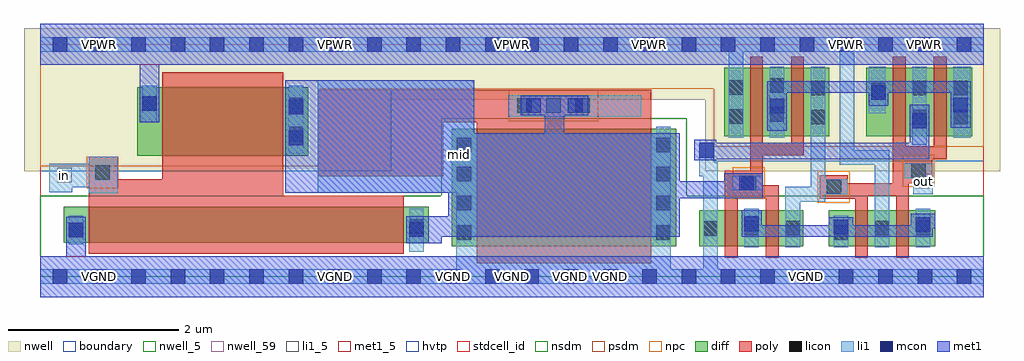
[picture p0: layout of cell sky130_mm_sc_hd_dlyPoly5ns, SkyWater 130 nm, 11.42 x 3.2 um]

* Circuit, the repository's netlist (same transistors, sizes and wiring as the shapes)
* NGSPICE file created from sky130_mm_sc_hd_dlyPoly5ns.ext - technology: sky130A

.subckt sky130_mm_sc_hd_dlyPoly5ns VPWR in out VGND VPB VNB
X0 a_1691_329# out VGND VPB sky130_fd_pr__pfet_01v8_hvt ad=7.52e+11p pd=6.68e+06u as=2.64e+11p ps=2.26e+06u w=800000u l=150000u
X1 a_1691_329# mid VPWR VPB sky130_fd_pr__pfet_01v8_hvt ad=0p pd=0u as=4.72e+11p ps=4.38e+06u w=800000u l=150000u
X2 out mid a_1691_329# VPB sky130_fd_pr__pfet_01v8_hvt ad=2.4e+11p pd=2.2e+06u as=0p ps=0u w=800000u l=150000u
X3 VGND out a_1691_329# VPB sky130_fd_pr__pfet_01v8_hvt ad=0p pd=0u as=0p ps=0u w=800000u l=150000u
X4 VGND mid VGND VNB sky130_fd_pr__nfet_01v8 ad=1.0453e+12p pd=9.52e+06u as=0p ps=0u w=1.375e+06u l=2.045e+06u
X5 a_1632_71# mid VGND VNB sky130_fd_pr__nfet_01v8 ad=3.99e+11p pd=4.42e+06u as=0p ps=0u w=420000u l=150000u
X6 VPWR out a_1632_71# VNB sky130_fd_pr__nfet_01v8 ad=1.386e+11p pd=1.5e+06u as=0p ps=0u w=420000u l=150000u
X7 a_1632_71# out VPWR VNB sky130_fd_pr__nfet_01v8 ad=0p pd=0u as=0p ps=0u w=420000u l=150000u
X8 out mid a_1632_71# VNB sky130_fd_pr__nfet_01v8 ad=1.218e+11p pd=1.42e+06u as=0p ps=0u w=420000u l=150000u
X9 mid in VPWR VPB sky130_fd_pr__pfet_01v8_hvt ad=2.32e+11p pd=2.18e+06u as=0p ps=0u w=800000u l=1.42e+06u
X10 mid in VGND VNB sky130_fd_pr__nfet_01v8 ad=1.218e+11p pd=1.42e+06u as=0p ps=0u w=420000u l=3.69e+06u
.ends

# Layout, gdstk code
import gdstk
lib = gdstk.Library(unit=1e-6, precision=1e-09)
def R(c, l, rs):  # rectangles x0, y0, x1, y1
    for r in rs: c.add(gdstk.rectangle(r[:2], r[2:], *l))
def A(c, l, x, y, w, h, nx, ny, dx, dy):  # array of equal rectangles
    R(c, l, [(x+i*dx, y+j*dy, x+i*dx+w, y+j*dy+h) for i in range(nx) for j in range(ny)])
nwell_5 = (64, 5)
nwell = (64, 20)
nwell_59 = (64, 59)
diff = (65, 20)
poly = (66, 20)
licon = (66, 44)
li1_5 = (67, 5)
li1 = (67, 20)
mcon = (67, 44)
met1_5 = (68, 5)
met1 = (68, 20)
hvtp = (78, 44)
stdcell_id = (81, 4)
nsdm = (93, 44)
psdm = (94, 20)
npc = (95, 20)
boundary = (235, 4)

sky130_mm_sc_hd_dlypoly5 = lib.new_cell('sky130_mm_sc_hd_dlyPoly5ns')
R(sky130_mm_sc_hd_dlypoly5, nwell_5, [(0.605,2.635,0.775,2.805), (3.365,2.635,3.535,2.805), (7.045,2.635,7.215,2.805), (9.345,2.635,9.515,2.805), (10.265,2.635,10.435,2.805)])
R(sky130_mm_sc_hd_dlypoly5, nwell, [(-0.19,1.235,4.11,2.07), (7.78,1.235,11.23,2.07), (-0.19,2.07,11.23,2.91)])
A(sky130_mm_sc_hd_dlypoly5, nwell_59, 3.365, -0.085, 0.17, 0.17, 3, 1, 1.38, 0)
R(sky130_mm_sc_hd_dlypoly5, nwell_59, [(0.605,-0.085,0.775,0.085), (6.585,-0.085,6.755,0.085), (8.885,-0.085,9.055,0.085)])
R(sky130_mm_sc_hd_dlypoly5, diff, [(4.815,0.355,7.44,1.73), (7.71,0.355,8.93,0.775), (9.225,0.355,10.475,0.775), (0.275,0.4,4.545,0.82), (1.135,1.415,3.135,2.215), (8.005,1.645,9.235,2.445), (9.665,1.645,10.905,2.445)])
R(sky130_mm_sc_hd_dlypoly5, poly, [(5.105,0.16,7.15,1.805), (8.01,0.22,8.16,0.92), (8.49,0.22,8.64,0.92), (9.535,0.22,9.685,0.91), (10.015,0.22,10.165,0.945), (0.565,0.27,4.255,0.95), (9.12,0.91,9.685,0.945), (8.01,0.92,8.64,1.07), (9.12,0.945,10.165,1.095), (0.565,0.95,2.845,1.14), (8.01,1.07,8.455,1.24), (9.12,1.095,9.45,1.19), (9.975,1.095,10.44,1.375), (0.565,1.14,0.905,1.405), (1.425,1.14,2.845,2.395), (3.245,1.175,4.715,1.805), (8.305,1.24,8.455,1.42), (9.975,1.375,10.605,1.525), (8.305,1.42,8.935,1.57), (9.975,1.525,10.125,2.575), (10.455,1.525,10.605,2.575), (8.305,1.57,8.455,2.575), (8.785,1.57,8.935,2.575), (3.245,1.805,7.15,2.14), (3.25,2.14,7.15,2.19)])
A(sky130_mm_sc_hd_dlypoly5, licon, 4.875, 0.435, 0.17, 0.17, 1, 4, 0, 0.34)
A(sky130_mm_sc_hd_dlypoly5, licon, 7.21, 0.435, 0.17, 0.17, 1, 4, 0, 0.34)
A(sky130_mm_sc_hd_dlypoly5, licon, 5.58, 1.92, 0.17, 0.17, 3, 1, 0.34, 0)
R(sky130_mm_sc_hd_dlypoly5, licon, [(9.285,0.435,9.455,0.605), (0.335,0.46,0.505,0.63), (7.76,0.48,7.93,0.65), (8.24,0.485,8.41,0.655), (8.72,0.485,8.89,0.655), (9.765,0.485,9.935,0.655), (10.245,0.485,10.415,0.655), (4.315,0.505,4.485,0.675), (9.2,0.965,9.37,1.135), (8.205,1.01,8.375,1.18), (0.645,1.135,0.815,1.305), (10.19,1.155,10.36,1.325), (2.905,1.585,3.075,1.755), (9.015,1.785,9.185,1.955), (10.205,1.785,10.375,1.955), (10.685,1.785,10.855,1.955), (8.055,1.79,8.225,1.96), (8.535,1.815,8.705,1.985), (2.905,1.925,3.075,2.095), (1.195,1.94,1.365,2.11), (9.725,2.1,9.895,2.27), (9.015,2.125,9.185,2.295), (10.205,2.125,10.375,2.295), (10.685,2.125,10.855,2.295), (8.055,2.13,8.225,2.3), (8.535,2.155,8.705,2.325)])
R(sky130_mm_sc_hd_dlypoly5, li1_5, [(10.245,1.035,10.415,1.205), (0.2,1.105,0.37,1.275)])
R(sky130_mm_sc_hd_dlypoly5, li1, [(0,-0.085,11.04,0.085), (4.865,0.085,7.38,0.98), (7.76,0.085,7.93,1.175), (4.315,0.29,4.485,0.8), (8.24,0.345,8.41,0.795), (8.72,0.345,8.89,0.88), (9.285,0.345,9.455,0.715), (9.765,0.345,9.935,1.31), (10.245,0.345,10.415,0.795), (0.335,0.38,0.505,0.715), (8.72,0.88,9.185,0.965), (8.72,0.965,9.45,1.05), (10.215,0.965,10.445,1.155), (0.565,0.975,0.905,1.045), (3.25,0.98,7.38,1.68), (0.105,0.99,0.375,1.045), (8.1,1.01,8.455,1.18), (0.105,1.045,0.905,1.32), (9.015,1.05,9.45,1.14), (9.015,1.14,9.185,2.455), (10.11,1.155,10.445,1.325), (7.71,1.175,7.93,1.34), (9.355,1.31,9.935,1.48), (0.565,1.32,0.905,1.405), (7.71,1.34,7.88,1.565), (2.905,1.445,3.075,2.235), (9.355,1.48,9.525,2.635), (10.205,1.545,10.375,2.455), (8.055,1.625,8.225,2.635), (8.535,1.625,8.705,2.455), (10.685,1.625,10.885,2.455), (3.25,1.68,5.08,2.3), (7.21,1.68,7.38,1.755), (1.19,1.805,1.365,2), (5.475,1.87,7.035,2.125), (9.695,1.915,9.895,2.455), (1.195,2,1.365,2.235), (0,2.635,11.04,2.805)])
A(sky130_mm_sc_hd_dlypoly5, mcon, 0.145, -0.085, 0.17, 0.17, 24, 2, 0.46, 2.72)
R(sky130_mm_sc_hd_dlypoly5, mcon, [(0.335,0.46,0.505,0.63), (4.315,0.465,4.485,0.635), (9.285,0.495,9.455,0.665), (10.245,0.525,10.415,0.695), (8.24,0.535,8.41,0.705), (8.18,1.01,8.35,1.18), (7.71,1.395,7.88,1.565), (2.905,1.54,3.075,1.71), (10.205,1.74,10.375,1.91), (2.905,1.9,3.075,2.07), (8.535,1.91,8.705,2.08), (5.685,1.92,5.855,2.09), (6.175,1.92,6.345,2.09), (10.685,1.925,10.855,2.095), (1.195,1.94,1.365,2.11), (9.725,2.07,9.895,2.24)])
A(sky130_mm_sc_hd_dlypoly5, met1_5, 3.365, -0.085, 0.17, 0.17, 3, 1, 1.38, 0)
R(sky130_mm_sc_hd_dlypoly5, met1_5, [(0,-0.24,11.04,0.24), (0.605,-0.085,0.775,0.085), (6.585,-0.085,6.755,0.085), (8.885,-0.085,9.055,0.085), (0,2.48,11.04,2.96), (0.605,2.635,0.775,2.805), (3.365,2.635,3.535,2.805), (7.045,2.635,7.215,2.805), (9.345,2.635,9.515,2.805), (10.265,2.635,10.435,2.805)])
R(sky130_mm_sc_hd_dlypoly5, met1, [(0,-0.24,11.04,0.24), (0.305,0.24,0.535,0.7), (4.28,0.39,4.7,0.465), (4.28,0.465,7.48,0.71), (8.21,0.465,10.445,0.565), (8.21,0.565,10.475,0.605), (8.21,0.605,8.44,0.775), (9.225,0.605,9.515,0.695), (10.185,0.605,10.475,0.735), (4.775,0.71,7.48,0.92), (4.775,0.92,8.455,0.98), (2.865,0.98,8.455,1.115), (2.865,1.115,7.48,1.68), (8.005,1.115,8.455,1.21), (7.65,1.365,7.91,1.375), (7.65,1.375,10.405,1.57), (7.65,1.57,7.91,1.6), (10.175,1.57,10.405,2.01), (2.865,1.68,5.08,2.3), (5.905,1.68,6.13,1.89), (8.505,1.71,8.735,2.15), (10.655,1.745,10.885,2.15), (1.19,1.805,1.365,1.81), (1.165,1.81,1.395,2.48), (5.62,1.89,6.41,2.12), (9.695,2,9.925,2.15), (8.505,2.15,10.885,2.29), (0,2.48,11.04,2.96)])
R(sky130_mm_sc_hd_dlypoly5, hvtp, [(0,1.235,4.11,2.72), (7.88,1.35,11.04,2.72), (4.11,2.2,7.88,2.72)])
R(sky130_mm_sc_hd_dlypoly5, stdcell_id, [(0,0,11.04,2.72)])
R(sky130_mm_sc_hd_dlypoly5, nsdm, [(0,0,11.04,0.945), (0,0.9,7.565,0.945), (4.69,0.945,7.565,1.855)])
R(sky130_mm_sc_hd_dlypoly5, psdm, [(0,1.29,3.26,2.72), (7.88,1.52,11.04,2.72), (3.26,2.2,7.88,2.72)])
R(sky130_mm_sc_hd_dlypoly5, npc, [(9.1,0.865,9.47,1.235), (8.105,0.91,8.475,1.28), (0.545,1.035,0.915,1.405), (10.09,1.055,10.46,1.425), (5.48,1.82,6.53,2.19)])
R(sky130_mm_sc_hd_dlypoly5, boundary, [(0,0,11.04,2.72)])
sky130_mm_sc_hd_dlypoly5.add(gdstk.Label('mid', (4.91,1.425), layer=68, texttype=16))
sky130_mm_sc_hd_dlypoly5.add(gdstk.Label('VPWR', (5.52,2.72), layer=68, texttype=5))
sky130_mm_sc_hd_dlypoly5.add(gdstk.Label('VPWR', (3.45,2.72), layer=68, texttype=5))
sky130_mm_sc_hd_dlypoly5.add(gdstk.Label('VPWR', (0.69,2.72), layer=68, texttype=5))
sky130_mm_sc_hd_dlypoly5.add(gdstk.Label('VPWR', (7.13,2.72), layer=68, texttype=5))
sky130_mm_sc_hd_dlypoly5.add(gdstk.Label('VPWR', (9.43,2.72), layer=68, texttype=5))
sky130_mm_sc_hd_dlypoly5.add(gdstk.Label('VPWR', (10.35,2.72), layer=68, texttype=5))
sky130_mm_sc_hd_dlypoly5.add(gdstk.Label('VGND', (5.52,0), layer=68, texttype=5))
sky130_mm_sc_hd_dlypoly5.add(gdstk.Label('VGND', (3.45,0), layer=68, texttype=5))
sky130_mm_sc_hd_dlypoly5.add(gdstk.Label('VGND', (0.69,0), layer=68, texttype=5))
sky130_mm_sc_hd_dlypoly5.add(gdstk.Label('VGND', (6.21,0), layer=68, texttype=5))
sky130_mm_sc_hd_dlypoly5.add(gdstk.Label('VGND', (8.97,0), layer=68, texttype=5))
sky130_mm_sc_hd_dlypoly5.add(gdstk.Label('VGND', (6.67,0), layer=68, texttype=5))
sky130_mm_sc_hd_dlypoly5.add(gdstk.Label('VGND', (4.83,0), layer=68, texttype=5))
sky130_mm_sc_hd_dlypoly5.add(gdstk.Label('in', (0.285,1.19), layer=67, texttype=5))
sky130_mm_sc_hd_dlypoly5.add(gdstk.Label('out', (10.33,1.12), layer=67, texttype=5))
sky130_mm_sc_hd_dlypoly5.add(gdstk.Label('VPB', (3.45,2.72), layer=64, texttype=5))
sky130_mm_sc_hd_dlypoly5.add(gdstk.Label('VPB', (0.69,2.72), layer=64, texttype=5))
sky130_mm_sc_hd_dlypoly5.add(gdstk.Label('VPB', (7.13,2.72), layer=64, texttype=5))
sky130_mm_sc_hd_dlypoly5.add(gdstk.Label('VPB', (9.43,2.72), layer=64, texttype=5))
sky130_mm_sc_hd_dlypoly5.add(gdstk.Label('VPB', (10.35,2.72), layer=64, texttype=5))
sky130_mm_sc_hd_dlypoly5.add(gdstk.Label('VNB', (3.45,0), layer=64, texttype=59))
sky130_mm_sc_hd_dlypoly5.add(gdstk.Label('VNB', (0.69,0), layer=64, texttype=59))
sky130_mm_sc_hd_dlypoly5.add(gdstk.Label('VNB', (6.21,0), layer=64, texttype=59))
sky130_mm_sc_hd_dlypoly5.add(gdstk.Label('VNB', (8.97,0), layer=64, texttype=59))
sky130_mm_sc_hd_dlypoly5.add(gdstk.Label('VNB', (6.67,0), layer=64, texttype=59))
sky130_mm_sc_hd_dlypoly5.add(gdstk.Label('VNB', (4.83,0), layer=64, texttype=59))

lib.write_gds('sky130_mm_sc_hd_dlyPoly5ns.gds')
